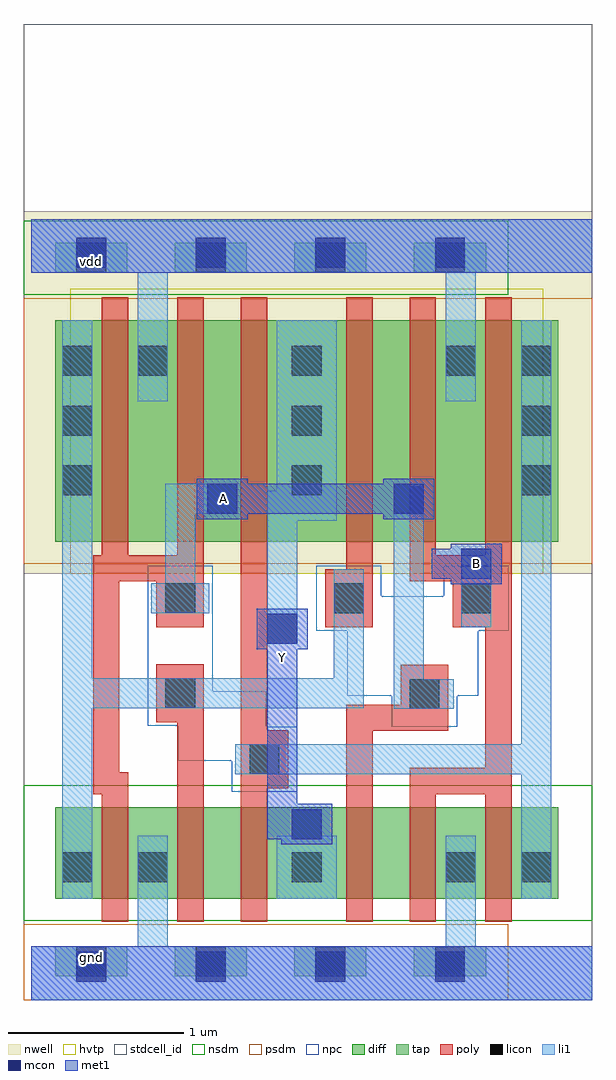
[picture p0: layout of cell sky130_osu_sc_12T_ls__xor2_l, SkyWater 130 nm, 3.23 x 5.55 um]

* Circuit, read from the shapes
.subckt sky130_osu_sc_12T_ls__xor2_l A B Y gnd vdd
XM1 gnd A n1 gnd sky130_fd_pr__nfet_01v8 w=0.52 l=0.15
XM2 n2 n1 gnd gnd sky130_fd_pr__nfet_01v8 w=0.52 l=0.15
XM3 Y n3 n2 gnd sky130_fd_pr__nfet_01v8 w=0.52 l=0.15
XM4 n4 A Y gnd sky130_fd_pr__nfet_01v8 w=0.52 l=0.15
XM5 gnd B n4 gnd sky130_fd_pr__nfet_01v8 w=0.52 l=0.15
XM6 n3 B gnd gnd sky130_fd_pr__nfet_01v8 w=0.52 l=0.15
XM7 vdd A n1 vdd sky130_fd_pr__pfet_01v8_hvt w=1.26 l=0.15
XM8 n5 A vdd vdd sky130_fd_pr__pfet_01v8_hvt w=1.26 l=0.15
XM9 Y n3 n5 vdd sky130_fd_pr__pfet_01v8_hvt w=1.26 l=0.15
XM10 n6 n1 Y vdd sky130_fd_pr__pfet_01v8_hvt w=1.26 l=0.15
XM11 vdd B n6 vdd sky130_fd_pr__pfet_01v8_hvt w=1.26 l=0.15
XM12 n3 B vdd vdd sky130_fd_pr__pfet_01v8_hvt w=1.26 l=0.15
.ends

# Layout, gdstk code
import gdstk
lib = gdstk.Library(unit=1e-6, precision=1e-09)
def R(c, l, rs):  # rectangles x0, y0, x1, y1
    for r in rs: c.add(gdstk.rectangle(r[:2], r[2:], *l))
def A(c, l, x, y, w, h, nx, ny, dx, dy):  # array of equal rectangles
    R(c, l, [(x+i*dx, y+j*dy, x+i*dx+w, y+j*dy+h) for i in range(nx) for j in range(ny)])
nwell = (64, 20)
diff = (65, 20)
tap = (65, 44)
poly = (66, 20)
licon = (66, 44)
li1 = (67, 20)
mcon = (67, 44)
met1 = (68, 20)
hvtp = (78, 44)
stdcell_id = (81, 4)
nsdm = (93, 44)
psdm = (94, 20)
npc = (95, 20)

sky130_osu_sc_12t_ls__xo = lib.new_cell('sky130_osu_sc_12T_ls__xor2_l')
R(sky130_osu_sc_12t_ls__xo, nwell, [(-0.045,2.425,3.19,4.485)])
R(sky130_osu_sc_12t_ls__xo, diff, [(0.135,0.575,2.995,1.095), (0.135,2.605,2.995,3.865)])
A(sky130_osu_sc_12t_ls__xo, tap, 0.135, 0.135, 0.41, 0.17, 4, 2, 0.68, 4)
R(sky130_osu_sc_12t_ls__xo, poly, [(0.4,0.445,0.55,1.17), (0.83,0.445,0.98,1.58), (1.19,0.445,1.34,1.205), (1.79,0.445,1.94,1.53), (2.15,0.445,2.3,1.17), (2.58,0.445,2.73,1.17), (0.35,1.17,0.55,1.295), (2.15,1.17,2.73,1.32), (1.19,1.205,1.46,1.535), (0.35,1.295,0.5,2.38), (2.58,1.32,2.73,2.12), (1.79,1.53,2.37,1.68), (1.19,1.535,1.34,3.995), (0.71,1.58,0.98,1.91), (2.1,1.68,2.37,1.905), (0.71,2.12,0.98,2.38), (1.67,2.12,1.94,2.45), (2.395,2.12,2.73,2.38), (0.35,2.38,0.98,2.53), (2.15,2.38,2.73,2.53), (1.79,2.45,1.94,3.995), (0.4,2.53,0.55,3.995), (0.83,2.53,0.98,3.995), (2.15,2.53,2.3,3.995), (2.58,2.53,2.73,3.995)])
A(sky130_osu_sc_12t_ls__xo, licon, 0.255, 0.135, 0.17, 0.17, 4, 2, 0.68, 4)
A(sky130_osu_sc_12t_ls__xo, licon, 0.605, 0.67, 0.17, 0.17, 3, 2, 0.875, 2.88)
A(sky130_osu_sc_12t_ls__xo, licon, 0.175, 2.87, 0.17, 0.17, 3, 2, 1.305, 0.34)
R(sky130_osu_sc_12t_ls__xo, licon, [(0.175,0.67,0.345,0.84), (2.785,0.67,2.955,0.84), (1.24,1.285,1.41,1.455), (2.15,1.655,2.32,1.825), (0.76,1.66,0.93,1.83), (0.76,2.2,0.93,2.37), (1.72,2.2,1.89,2.37), (2.445,2.2,2.615,2.37), (0.175,3.55,0.345,3.72), (2.785,3.55,2.955,3.72)])
R(sky130_osu_sc_12t_ls__xo, li1, [(0,0,3.19,0.305), (0.605,0.305,0.775,0.935), (2.355,0.305,2.525,0.935), (0.175,0.575,0.345,1.66), (1.395,0.575,1.735,0.935), (2.785,0.575,2.955,1.285), (1.48,0.935,1.65,1.085), (1.16,1.285,2.955,1.455), (2.785,1.455,2.955,3.865), (2.06,1.655,2.4,1.825), (0.175,1.66,1.89,1.83), (2.06,1.825,2.23,2.935), (0.175,1.83,0.345,3.865), (1.72,1.83,1.89,2.45), (1.34,2.025,1.51,2.725), (2.445,2.12,2.615,2.565), (0.68,2.2,1.01,2.37), (0.76,2.37,0.93,2.765), (1.34,2.725,1.735,2.895), (0.76,2.765,1.17,2.935), (1.395,2.895,1.735,3.865), (0.605,3.405,0.775,4.135), (2.355,3.405,2.525,4.135), (0,4.135,3.19,4.44)])
A(sky130_osu_sc_12t_ls__xo, mcon, 0.255, 0.105, 0.17, 0.17, 4, 2, 0.68, 4.06)
R(sky130_osu_sc_12t_ls__xo, mcon, [(1.48,0.915,1.65,1.085), (1.34,2.025,1.51,2.195), (2.445,2.395,2.615,2.565), (1,2.765,1.17,2.935), (2.06,2.765,2.23,2.935)])
R(sky130_osu_sc_12t_ls__xo, met1, [(0,0,3.19,0.305), (1.42,0.885,1.71,0.915), (1.34,0.915,1.71,1.115), (1.34,1.115,1.51,1.995), (1.28,1.995,1.57,2.225), (2.385,2.365,2.675,2.395), (2.275,2.395,2.675,2.565), (2.385,2.565,2.675,2.595), (0.94,2.735,1.23,2.765), (2,2.735,2.29,2.765), (0.94,2.765,2.29,2.935), (0.94,2.935,1.23,2.965), (2,2.935,2.29,2.965), (0,4.135,3.19,4.44)])
R(sky130_osu_sc_12t_ls__xo, hvtp, [(0.22,2.425,2.91,4.045)])
R(sky130_osu_sc_12t_ls__xo, stdcell_id, [(-0.045,0,3.19,5.55)])
R(sky130_osu_sc_12t_ls__xo, nsdm, [(-0.045,0.45,3.19,1.22), (-0.045,4.01,2.71,4.43)])
R(sky130_osu_sc_12t_ls__xo, psdm, [(-0.045,0,2.71,0.43), (-0.045,2.48,3.19,3.99)])
R(sky130_osu_sc_12t_ls__xo, npc, [(1.14,1.185,1.51,1.36), (0.835,1.36,1.51,1.555), (0.835,1.555,1.335,1.56), (2.05,1.555,2.42,1.73), (0.66,1.56,1.335,1.755), (1.795,1.73,2.54,2.1), (0.66,1.755,1.03,2.47), (1.62,2.1,2.715,2.295), (1.62,2.295,1.99,2.47), (2.345,2.295,2.715,2.47)])
sky130_osu_sc_12t_ls__xo.add(gdstk.Label('gnd', (0.34,0.24), layer=68, texttype=16))
sky130_osu_sc_12t_ls__xo.add(gdstk.Label('vdd', (0.34,4.2), layer=68, texttype=16))
sky130_osu_sc_12t_ls__xo.add(gdstk.Label('A', (1.09,2.85), layer=68, texttype=5))
sky130_osu_sc_12t_ls__xo.add(gdstk.Label('Y', (1.425,1.95), layer=68, texttype=5))
sky130_osu_sc_12t_ls__xo.add(gdstk.Label('B', (2.53,2.48), layer=68, texttype=5))

lib.write_gds('sky130_osu_sc_12T_ls__xor2_l.gds')
